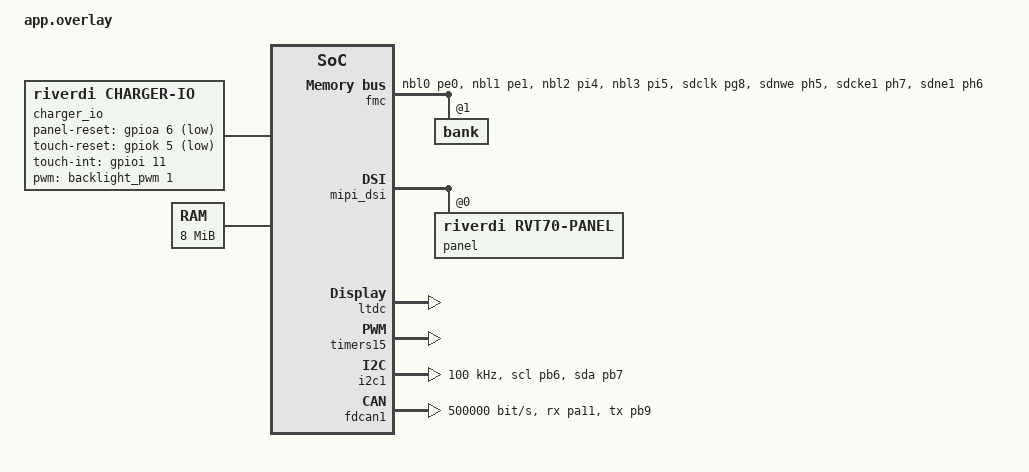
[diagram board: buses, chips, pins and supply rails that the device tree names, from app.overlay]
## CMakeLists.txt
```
# SPDX-License-Identifier: Apache-2.0

cmake_minimum_required(VERSION 3.20.0)

if("${BOARD}" STREQUAL "stm32f769i_disco")
  set(SHIELD st_b_lcd40_dsi1_mb1166)
  set(DTC_OVERLAY_FILE boards/stm32f769i_disco.overlay)
elseif("${BOARD}" STREQUAL "stm32h7b3i_eval")
  set(DTC_OVERLAY_FILE boards/stm32h7b3i_eval.overlay)
elseif("${BOARD}" MATCHES "stm32h7|riverdi")
  set(DTC_OVERLAY_FILE app_h7.overlay)
endif()

find_package(Zephyr REQUIRED HINTS $ENV{ZEPHYR_BASE})
project(riverdi_charger)

target_sources(app PRIVATE src/main.c src/charger_uds.c src/truck_art.c)
add_subdirectory(src/panels)
add_subdirectory(src/pm_control)


generate_inc_file_for_target(app src/jungheinrich.rgb565
  ${ZEPHYR_BINARY_DIR}/include/generated/jungheinrich.rgb565.inc)

foreach(truck ejc216 efg216 etv216i efg425)
  generate_inc_file_for_target(app src/trucks/${truck}.pal565
    ${ZEPHYR_BINARY_DIR}/include/generated/${truck}.pal565.inc)
endforeach()
```

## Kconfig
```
menu "Zephyr"
source "Kconfig.zephyr"
endmenu

module = APP
module-str = APP
source "subsys/logging/Kconfig.template.log_config"

rsource "src/pm_control/Kconfig"
```

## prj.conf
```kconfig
CONFIG_DISPLAY=y
CONFIG_GPIO=y
CONFIG_CAN=y
CONFIG_ISO14229=y
CONFIG_REBOOT=y
CONFIG_STM32H7_BOOT_M4_AT_INIT=n
CONFIG_I2C=y
CONFIG_MEMC=y
CONFIG_MIPI_DSI=y
CONFIG_PWM=y
CONFIG_STM32_LTDC_RGB888=y
CONFIG_LVGL=y
CONFIG_LV_COLOR_DEPTH_24=y
CONFIG_LV_Z_COLOR_24_BGR_TO_RGB=n
CONFIG_LV_Z_MEM_POOL_SIZE=65536
CONFIG_LV_Z_VDB_SIZE=10
CONFIG_LV_FONT_MONTSERRAT_20=y
CONFIG_LV_FONT_MONTSERRAT_28=y
CONFIG_LV_FONT_MONTSERRAT_48=y
CONFIG_MAIN_STACK_SIZE=6144
CONFIG_LOG=y
CONFIG_LOG_DEFAULT_LEVEL=3
```

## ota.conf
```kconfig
CONFIG_FLASH=y
CONFIG_FLASH_MAP=y
CONFIG_FLASH_PAGE_LAYOUT=y
CONFIG_STREAM_FLASH=y
CONFIG_IMG_MANAGER=y
CONFIG_CRC=y
```

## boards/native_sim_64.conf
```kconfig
CONFIG_LV_COLOR_DEPTH_32=y
CONFIG_LV_Z_MEM_POOL_SIZE=150536

CONFIG_INPUT=y
CONFIG_GPIO=y

# Turn off unused drivers enabled by application prj.conf
CONFIG_MEMC=n
CONFIG_PWM=n
```

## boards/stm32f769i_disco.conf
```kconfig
# SPDX-License-Identifier: Apache-2.0

CONFIG_DISPLAY=y
CONFIG_INPUT=y
CONFIG_INPUT_FT5336_INTERRUPT=n
CONFIG_INPUT_FT5336_PERIOD=10
CONFIG_CAN=y
CONFIG_ISO14229=y
CONFIG_REBOOT=y
CONFIG_GPIO=y
CONFIG_I2C=y
CONFIG_MEMC=y
CONFIG_MIPI_DSI=y
CONFIG_PWM=n
CONFIG_STM32_LTDC_RGB888=y
CONFIG_LVGL=y
CONFIG_LV_COLOR_DEPTH_24=y
CONFIG_LV_Z_COLOR_24_BGR_TO_RGB=n
CONFIG_LV_Z_MEM_POOL_SIZE=65536
CONFIG_LV_Z_VDB_SIZE=10
CONFIG_LV_FONT_MONTSERRAT_16=y
CONFIG_LV_FONT_MONTSERRAT_22=y
CONFIG_LV_FONT_MONTSERRAT_38=y
CONFIG_MAIN_STACK_SIZE=6144
```

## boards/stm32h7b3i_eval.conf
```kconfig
# SPDX-License-Identifier: Apache-2.0

CONFIG_INPUT=y
CONFIG_CAN_TRANSCEIVER_INIT_PRIORITY=75
CONFIG_MIPI_DSI=n
CONFIG_PWM=n
CONFIG_STM32_LTDC_RGB565=y
CONFIG_LV_COLOR_DEPTH_16=y
CONFIG_LV_FONT_MONTSERRAT_20=n
CONFIG_LV_FONT_MONTSERRAT_28=n
CONFIG_LV_FONT_MONTSERRAT_48=n
CONFIG_LV_FONT_MONTSERRAT_16=y
CONFIG_LV_FONT_MONTSERRAT_22=y
CONFIG_LV_FONT_MONTSERRAT_38=y
```

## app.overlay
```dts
/* SPDX-License-Identifier: Apache-2.0 */

#include <zephyr/dt-bindings/memory-attr/memory-attr-arm.h>
#include <zephyr/dt-bindings/memory-controller/stm32-fmc-sdram.h>
#include <zephyr/dt-bindings/display/panel.h>
#include <zephyr/dt-bindings/pwm/pwm.h>
#include "flash_layout.dtsi"

/ {
	chosen {
		zephyr,display = &ltdc;
		zephyr,canbus = &fdcan1;
		zephyr,code-partition = &slot0_partition;
	};

	charger_io: charger-io {
		compatible = "riverdi,charger-io";
		panel-reset-gpios = <&gpioa 6 GPIO_ACTIVE_LOW>;
		pwms = <&backlight_pwm 1 20833 PWM_POLARITY_NORMAL>;
		touch-reset-gpios = <&gpiok 5 GPIO_ACTIVE_LOW>;
		touch-int-gpios = <&gpioi 11 GPIO_ACTIVE_HIGH>;
	};

	display_sdram: memory@d0000000 {
		compatible = "zephyr,memory-region", "mmio-sram";
		device_type = "memory";
		reg = <0xd0000000 DT_SIZE_M(8)>;
		zephyr,memory-region = "DISPLAY_SDRAM";
		zephyr,memory-attr = <DT_MEM_ARM(ATTR_MPU_RAM)>;
	};
};

&pll2 {
	clocks = <&clk_hse>;
	div-m = <4>;
	mul-n = <168>;
	div-r = <3>;
	status = "okay";
};

&pll3 {
	clocks = <&clk_hse>;
	/* 16 MHz / 8 * 125 / 6 matches the DSI video timing clock. */
	div-m = <8>;
	mul-n = <125>;
	div-r = <6>;
	status = "okay";
};

&fmc {
	clocks = <&rcc STM32_CLOCK(AHB3, 12)>, <&rcc STM32_SRC_PLL2_R FMC_SEL(2)>;
	pinctrl-0 = <&fmc_nbl0_pe0 &fmc_nbl1_pe1 &fmc_nbl2_pi4 &fmc_nbl3_pi5
		     &fmc_sdclk_pg8 &fmc_sdnwe_ph5 &fmc_sdcke1_ph7 &fmc_sdne1_ph6
		     &fmc_sdnras_pf11 &fmc_sdncas_pg15
		     &fmc_a0_pf0 &fmc_a1_pf1 &fmc_a2_pf2 &fmc_a3_pf3 &fmc_a4_pf4
		     &fmc_a5_pf5 &fmc_a6_pf12 &fmc_a7_pf13 &fmc_a8_pf14
		     &fmc_a9_pf15 &fmc_a10_pg0 &fmc_a11_pg1 &fmc_a12_pg2
		     &fmc_a14_pg4 &fmc_a15_pg5
		     &fmc_d0_pd14 &fmc_d1_pd15 &fmc_d2_pd0 &fmc_d3_pd1
		     &fmc_d4_pe7 &fmc_d5_pe8 &fmc_d6_pe9 &fmc_d7_pe10
		     &fmc_d8_pe11 &fmc_d9_pe12 &fmc_d10_pe13 &fmc_d11_pe14
		     &fmc_d12_pe15 &fmc_d13_pd8 &fmc_d14_pd9 &fmc_d15_pd10
		     &fmc_d16_ph8 &fmc_d17_ph9 &fmc_d18_ph10 &fmc_d19_ph11
		     &fmc_d20_ph12 &fmc_d21_ph13 &fmc_d22_ph14 &fmc_d23_ph15
		     &fmc_d24_pi0 &fmc_d25_pi1 &fmc_d26_pi2 &fmc_d27_pi3
		     &fmc_d28_pi6 &fmc_d29_pi7 &fmc_d30_pi9 &fmc_d31_pi10>;
	pinctrl-names = "default";
	status = "okay";

	sdram {
		power-up-delay = <100>;
		num-auto-refresh = <8>;
		mode-register = <0x230>;
		refresh-rate = <0x603>;
		status = "okay";

		bank@1 {
			reg = <1>;
			st,sdram-control = <STM32_FMC_SDRAM_NC_8 STM32_FMC_SDRAM_NR_11
					    STM32_FMC_SDRAM_MWID_32 STM32_FMC_SDRAM_NB_4
					    STM32_FMC_SDRAM_CAS_3 STM32_FMC_SDRAM_SDCLK_PERIOD_2
					    STM32_FMC_SDRAM_RBURST_ENABLE STM32_FMC_SDRAM_RPIPE_0>;
			st,sdram-timing = <3 7 4 7 4 3 3>;
		};
	};
};

&mipi_dsi {
	pll-ndiv = <62>;
	pll-idf = <1>;
	pll-odf = <1>;
	de-active-high;
	bta-ack-disable;
	largest-packet-size = <23>;
	host-timeouts = <1 0 0 0 0 0 0 0 0>;
	phy-timings = <28 32 15 24 0 0>;
	lp-rx-filter = <10000>;
	status = "okay";

	panel@0 {
		compatible = "riverdi,rvt70-panel";
		reg = <0>;
		data-lanes = <2>;
		pixel-format = <MIPI_DSI_PIXFMT_RGB888>;
	};
};

&ltdc {
	clocks = <&rcc STM32_CLOCK(APB3, 3)>, <&rcc STM32_SRC_PLL3_R NO_SEL>;
	width = <1024>;
	height = <600>;
	pixel-format = <PANEL_PIXEL_FORMAT_RGB_888>;
	ext-sdram = <&display_sdram>;
	def-back-color-red = <0>;
	def-back-color-green = <0>;
	def-back-color-blue = <0>;
	status = "okay";

	display-timings {
		compatible = "zephyr,panel-timing";
		hsync-active = <0>;
		vsync-active = <0>;
		de-active = <0>;
		pixelclk-active = <0>;
		hsync-len = <70>;
		vsync-len = <10>;
		hback-porch = <160>;
		hfront-porch = <160>;
		vback-porch = <23>;
		vfront-porch = <12>;
	};
};

&timers15 {
	st,prescaler = <4>;
	status = "okay";

	backlight_pwm: pwm {
		pinctrl-0 = <&tim15_ch1_pe5>;
		pinctrl-names = "default";
		status = "okay";
	};
};

&i2c1 {
	pinctrl-0 = <&i2c1_scl_pb6 &i2c1_sda_pb7>;
	pinctrl-names = "default";
	clock-frequency = <I2C_BITRATE_STANDARD>;
	status = "okay";
};

&fdcan1 {
	clocks = <&rcc STM32_CLOCK(APB1_2, 8)>, <&rcc STM32_SRC_PLL1_Q FDCAN_SEL(1)>;
	pinctrl-0 = <&fdcan1_rx_pa11 &fdcan1_tx_pb9>;
	pinctrl-names = "default";
	bitrate = <500000>;
	status = "okay";
};
```

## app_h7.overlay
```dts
/* SPDX-License-Identifier: Apache-2.0 */

#include <zephyr/dt-bindings/memory-attr/memory-attr-arm.h>
#include <zephyr/dt-bindings/memory-controller/stm32-fmc-sdram.h>
#include <zephyr/dt-bindings/display/panel.h>
#include <zephyr/dt-bindings/pwm/pwm.h>
#include "flash_layout.dtsi"

/ {
	chosen {
		zephyr,display = &ltdc;
		zephyr,canbus = &fdcan1;
		zephyr,code-partition = &slot0_partition;
	};

	charger_io: charger-io {
		compatible = "riverdi,charger-io";
		panel-reset-gpios = <&gpioa 6 GPIO_ACTIVE_LOW>;
		pwms = <&backlight_pwm 1 20833 PWM_POLARITY_NORMAL>;
		touch-reset-gpios = <&gpiok 5 GPIO_ACTIVE_LOW>;
		touch-int-gpios = <&gpioi 11 GPIO_ACTIVE_HIGH>;
	};

	display_sdram: memory@d0000000 {
		compatible = "zephyr,memory-region", "mmio-sram";
		device_type = "memory";
		reg = <0xd0000000 DT_SIZE_M(8)>;
		zephyr,memory-region = "DISPLAY_SDRAM";
		zephyr,memory-attr = <DT_MEM_ARM(ATTR_MPU_RAM)>;
	};
};

&pll2 {
	clocks = <&clk_hse>;
	div-m = <4>;
	mul-n = <168>;
	div-r = <3>;
	status = "okay";
};

&pll3 {
	clocks = <&clk_hse>;
	/* 16 MHz / 8 * 125 / 6 matches the DSI video timing clock. */
	div-m = <8>;
	mul-n = <125>;
	div-r = <6>;
	status = "okay";
};

&fmc {
	clocks = <&rcc STM32_CLOCK(AHB3, 12)>, <&rcc STM32_SRC_PLL2_R FMC_SEL(2)>;
	pinctrl-0 = <&fmc_nbl0_pe0 &fmc_nbl1_pe1 &fmc_nbl2_pi4 &fmc_nbl3_pi5
		     &fmc_sdclk_pg8 &fmc_sdnwe_ph5 &fmc_sdcke1_ph7 &fmc_sdne1_ph6
		     &fmc_sdnras_pf11 &fmc_sdncas_pg15
		     &fmc_a0_pf0 &fmc_a1_pf1 &fmc_a2_pf2 &fmc_a3_pf3 &fmc_a4_pf4
		     &fmc_a5_pf5 &fmc_a6_pf12 &fmc_a7_pf13 &fmc_a8_pf14
		     &fmc_a9_pf15 &fmc_a10_pg0 &fmc_a11_pg1 &fmc_a12_pg2
		     &fmc_a14_pg4 &fmc_a15_pg5
		     &fmc_d0_pd14 &fmc_d1_pd15 &fmc_d2_pd0 &fmc_d3_pd1
		     &fmc_d4_pe7 &fmc_d5_pe8 &fmc_d6_pe9 &fmc_d7_pe10
		     &fmc_d8_pe11 &fmc_d9_pe12 &fmc_d10_pe13 &fmc_d11_pe14
		     &fmc_d12_pe15 &fmc_d13_pd8 &fmc_d14_pd9 &fmc_d15_pd10
		     &fmc_d16_ph8 &fmc_d17_ph9 &fmc_d18_ph10 &fmc_d19_ph11
		     &fmc_d20_ph12 &fmc_d21_ph13 &fmc_d22_ph14 &fmc_d23_ph15
		     &fmc_d24_pi0 &fmc_d25_pi1 &fmc_d26_pi2 &fmc_d27_pi3
		     &fmc_d28_pi6 &fmc_d29_pi7 &fmc_d30_pi9 &fmc_d31_pi10>;
	pinctrl-names = "default";
	status = "okay";

	sdram {
		power-up-delay = <100>;
		num-auto-refresh = <8>;
		mode-register = <0x230>;
		refresh-rate = <0x603>;
		status = "okay";

		bank@1 {
			reg = <1>;
			st,sdram-control = <STM32_FMC_SDRAM_NC_8 STM32_FMC_SDRAM_NR_11
					    STM32_FMC_SDRAM_MWID_32 STM32_FMC_SDRAM_NB_4
					    STM32_FMC_SDRAM_CAS_3 STM32_FMC_SDRAM_SDCLK_PERIOD_2
					    STM32_FMC_SDRAM_RBURST_ENABLE STM32_FMC_SDRAM_RPIPE_0>;
			st,sdram-timing = <3 7 4 7 4 3 3>;
		};
	};
};

&mipi_dsi {
	pll-ndiv = <62>;
	pll-idf = <1>;
	pll-odf = <1>;
	de-active-high;
	bta-ack-disable;
	largest-packet-size = <23>;
	host-timeouts = <1 0 0 0 0 0 0 0 0>;
	phy-timings = <28 32 15 24 0 0>;
	lp-rx-filter = <10000>;
	status = "okay";

	panel@0 {
		compatible = "riverdi,rvt70-panel";
		reg = <0>;
		data-lanes = <2>;
		pixel-format = <MIPI_DSI_PIXFMT_RGB888>;
	};
};

&ltdc {
	clocks = <&rcc STM32_CLOCK(APB3, 3)>, <&rcc STM32_SRC_PLL3_R NO_SEL>;
	width = <1024>;
	height = <600>;
	pixel-format = <PANEL_PIXEL_FORMAT_RGB_888>;
	ext-sdram = <&display_sdram>;
	def-back-color-red = <0>;
	def-back-color-green = <0>;
	def-back-color-blue = <0>;
	status = "okay";

	display-timings {
		compatible = "zephyr,panel-timing";
		hsync-active = <0>;
		vsync-active = <0>;
		de-active = <0>;
		pixelclk-active = <0>;
		hsync-len = <70>;
		vsync-len = <10>;
		hback-porch = <160>;
		hfront-porch = <160>;
		vback-porch = <23>;
		vfront-porch = <12>;
	};
};

&timers15 {
	st,prescaler = <4>;
	status = "okay";

	backlight_pwm: pwm {
		pinctrl-0 = <&tim15_ch1_pe5>;
		pinctrl-names = "default";
		status = "okay";
	};
};

&i2c1 {
	pinctrl-0 = <&i2c1_scl_pb6 &i2c1_sda_pb7>;
	pinctrl-names = "default";
	clock-frequency = <I2C_BITRATE_STANDARD>;
	status = "okay";
};

&fdcan1 {
	clocks = <&rcc STM32_CLOCK(APB1_2, 8)>, <&rcc STM32_SRC_PLL1_Q FDCAN_SEL(1)>;
	pinctrl-0 = <&fdcan1_rx_pa11 &fdcan1_tx_pb9>;
	pinctrl-names = "default";
	bitrate = <800000>;
	status = "okay";
};
```

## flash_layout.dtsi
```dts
/* SPDX-License-Identifier: Apache-2.0 */

&flash0 {
	reg = <0x08000000 DT_SIZE_M(2)>;
	/delete-property/ bank2-flash-size;

	partitions {
		compatible = "fixed-partitions";
		#address-cells = <1>;
		#size-cells = <1>;

		boot_partition: partition@0 {
			label = "mcuboot";
			reg = <0x000000 0x020000>;
		};

		slot0_partition: partition@20000 {
			label = "image-0";
			reg = <0x020000 0x0a0000>;
		};

		scratch_partition: partition@c0000 {
			label = "image-scratch";
			reg = <0x0c0000 0x020000>;
		};

		slot1_partition: partition@100000 {
			label = "image-1";
			reg = <0x100000 0x0a0000>;
		};
	};
};
```

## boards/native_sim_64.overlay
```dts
/ {
	chosen {
		zephyr,canbus = &can0;
		zephyr,display = &sdl_dc;
		zephyr,touch = &input_sdl_touch;
	};

	lvgl_pointer {
		compatible = "zephyr,lvgl-pointer-input";
		status = "okay";
		input = <&input_sdl_touch>;
		display = <&sdl_dc>;
	};

	leds {
		/* Not actually an LED, but used as a node from which to fetch gpio_dt_spec in application */
		lm_enable: led_1 {
			gpios = <&gpio0 1 GPIO_ACTIVE_HIGH>;
			label = "LM_ENABLE";
		};
	};
};

&sdl_dc {
	status = "okay";
	width = <1024>;
	height = <600>;
};

&can0 {
	status = "okay";
	/* Virtual CAN interface */
	host-interface = "vcan0";
	/* For real CAN interface (e.g. PCAN_USB), comment out the above line and uncomment the following */
	/* host-interface = "can0"; */
	sample-point = <875>;
	bitrate = <800000>;
};
```

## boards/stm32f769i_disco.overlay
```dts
/* SPDX-License-Identifier: Apache-2.0 */

#include "stm32f769i_disco_flash_layout.dtsi"

/delete-node/ &{/soc/spi@a0001000/qspi-nor-flash@0/partitions/partition@0};

/ {
	chosen {
		zephyr,canbus = &can1;
		zephyr,code-partition = &slot0_partition;
		zephyr,touch = &ft6202;
	};

	leds {
		/* Not actually an LED, but used as a node from which to fetch gpio_dt_spec in application */
		lm_enable: led_4 {
			gpios = <&gpioj 1 (GPIO_OPEN_DRAIN | GPIO_PULL_UP)>;
			label = "LM_ENABLE";
		};
	};
};

&can1 {
	pinctrl-0 = <&can1_rx_pb8 &can1_tx_pb9>;
	pinctrl-names = "default";
	bitrate = <800000>;
	status = "okay";
};

&i2c1 {
	status = "disabled";
};

&ft6202 {
	inverted-y;
	screen-height = <480>;
};

&ft5336 {
	status = "disabled";
};
```

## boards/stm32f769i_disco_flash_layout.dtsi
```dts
/* SPDX-License-Identifier: Apache-2.0 */

&flash0 {
	reg = <0x08000000 DT_SIZE_M(2)>;
	/delete-property/ bank2-flash-size;

	partitions {
		compatible = "fixed-partitions";
		#address-cells = <1>;
		#size-cells = <1>;

		boot_partition: partition@0 {
			label = "mcuboot";
			reg = <0x000000 0x040000>;
		};

		slot0_partition: partition@40000 {
			label = "image-0";
			reg = <0x040000 0x0c0000>;
		};

		slot1_partition: partition@100000 {
			label = "image-1";
			reg = <0x100000 0x0c0000>;
		};

		scratch_partition: partition@1c0000 {
			label = "image-scratch";
			reg = <0x1c0000 0x040000>;
		};
	};
};
```

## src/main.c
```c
/* SPDX-License-Identifier: Apache-2.0 */

#include <errno.h>
#include <zephyr/drivers/display.h>
#include <zephyr/kernel.h>
#include <zephyr/sys/printk.h>
#include "panel.h"
#include "gui.h"
#include "charger_uds.h"
#ifdef CONFIG_BOOTLOADER_MCUBOOT
#include <zephyr/dfu/mcuboot.h>
#endif

int main(void)
{
	const struct device *display = DEVICE_DT_GET(DT_CHOSEN(zephyr_display));
	int ret;

	if (!device_is_ready(display)) {
		printk("LTDC is not ready\n");
		return -ENODEV;
	}
	ret = charger_panel_init();
	if (ret < 0) {
		printk("Panel initialization failed (%d)\n", ret);
		return ret;
	}
	ret = charger_touch_init();
	if (ret < 0) {
		printk("Touch initialization failed (%d)\n", ret);
	}
	gui_init();
	gui_process();
	display_blanking_off(display);
	ret = charger_uds_init();
	if (ret) {
		printk("CAN/UDS initialization failed (%d)\n", ret);
	}
#ifdef CONFIG_BOOTLOADER_MCUBOOT
	if (ret == 0 && !boot_is_img_confirmed()) {
		ret = boot_write_img_confirmed();
		if (ret) {
			printk("MCUboot confirmation failed (%d)\n", ret);
		}
	}
#endif

	while (true) {
		uint32_t delay = gui_process();

		k_msleep(CLAMP(delay, 1, 20));
	}
}
```

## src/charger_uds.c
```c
/* SPDX-License-Identifier: Apache-2.0 */

#include <errno.h>
#include <ardep/iso14229.h>
#include <zephyr/sys/atomic.h>
#include <zephyr/sys/byteorder.h>
#include <zephyr/sys/reboot.h>
#include <zephyr/sys/util.h>
#include <zephyr/app_version.h>
#include "charger_uds.h"

#ifdef CONFIG_BOOTLOADER_MCUBOOT
#include <zephyr/dfu/flash_img.h>
#include <zephyr/dfu/mcuboot.h>
#include <zephyr/storage/flash_map.h>
#include <zephyr/sys/crc.h>
#endif

#define DID_BATTERY 0xf200
#define DID_PROFILE 0xf201
#define DID_TRUCK 0xf202
#define DID_INDICATORS 0xf203
#define DID_CHARGE 0xf204
#define DID_LAYOUT 0xf205
#define DID_VERSION 0xf189
#define BATTERY_WIRE_SIZE 12
#define BENCH_P2_MS 5

static const struct device *const can = DEVICE_DT_GET(DT_CHOSEN(zephyr_canbus));
static struct iso14229_zephyr_instance uds;
static struct battery_sample battery = {640, 520, 0, 250, 0, 0};
static int64_t last_update = -1;
static atomic_t selected_truck;
static atomic_t indicators;
static atomic_t charge_state;
K_MUTEX_DEFINE(battery_lock);

bool charger_uds_sample(struct battery_sample *sample)
{
	k_mutex_lock(&battery_lock, K_FOREVER);
	*sample = battery;
	bool fresh = last_update >= 0 && k_uptime_get() - last_update < 5000;
	k_mutex_unlock(&battery_lock);
	return fresh;
}

enum charger_truck charger_uds_truck(void)
{
	return atomic_get(&selected_truck);
}

uint8_t charger_uds_indicators(void)
{
	return atomic_get(&indicators);
}

enum charger_charge_state charger_charge_state(void)
{
	return atomic_get(&charge_state);
}

int charger_set_charging(bool enable)
{
	int ret = 0;

	k_mutex_lock(&battery_lock, K_FOREVER);
	if (enable) {
		if (!charger_uds_truck() || charger_charge_state() == COMPLETE) {
			ret = -EPERM;
		} else {
			atomic_set(&charge_state, CHARGING);
		}
	} else {
		atomic_cas(&charge_state, CHARGING, PAUSED);
	}
	k_mutex_unlock(&battery_lock);
	return ret;
}

void charger_reset_charge(void)
{
	k_mutex_lock(&battery_lock, K_FOREVER);
	atomic_set(&charge_state, READY);
	k_mutex_unlock(&battery_lock);
}

static UDSErr_t read_did(UDSServer_t *srv, UDSRDBIArgs_t *args)
{
	static const uint8_t profile[] = {
		'R', 'V', 'C', '1',
#ifdef CONFIG_BOOTLOADER_MCUBOOT
		1,
#else
		0,
#endif
	};
	static const char version[] = APP_VERSION_STRING;
	struct battery_sample sample;
	uint8_t wire[BATTERY_WIRE_SIZE];

	switch (args->dataId) {
	case DID_PROFILE:
		return args->copy(srv, profile, sizeof(profile));
	case DID_VERSION:
		return args->copy(srv, version, sizeof(version) - 1);
	case DID_TRUCK:
		wire[0] = charger_uds_truck();
		return args->copy(srv, wire, 1);
	case DID_INDICATORS:
		wire[0] = charger_uds_indicators();
		return args->copy(srv, wire, 1);
	case DID_CHARGE:
		wire[0] = charger_charge_state();
		return args->copy(srv, wire, 1);
	case DID_LAYOUT:
#ifdef CONFIG_BOARD_STM32F769I_DISCO
		wire[0] = 1;
#else
		wire[0] = 0;
#endif
		return args->copy(srv, wire, 1);
	case DID_BATTERY:
		charger_uds_sample(&sample);
		sys_put_be16(sample.soc_permille, wire);
		sys_put_be16(sample.voltage_decivolts, wire + 2);
		sys_put_be16(sample.current_deciamps, wire + 4);
		sys_put_be16(sample.temperature_decicelsius, wire + 6);
		sys_put_be16(sample.warnings, wire + 8);
		sys_put_be16(sample.faults, wire + 10);
		return args->copy(srv, wire, sizeof(wire));
	default:
		return UDS_NRC_RequestOutOfRange;
	}
}

static UDSErr_t write_did(const UDSWDBIArgs_t *args)
{
	if (args->dataId == DID_CHARGE) {
		if (args->len != 1) {
			return UDS_NRC_IncorrectMessageLengthOrInvalidFormat;
		}
		if (args->data[0] > 1) {
			return UDS_NRC_RequestOutOfRange;
		}
		return charger_set_charging(args->data[0]) ? UDS_NRC_ConditionsNotCorrect :
			UDS_PositiveResponse;
	}
	if (args->dataId == DID_INDICATORS) {
		if (args->len != 2) {
			return UDS_NRC_IncorrectMessageLengthOrInvalidFormat;
		}
		const uint8_t mask = args->data[0];
		const uint8_t value = args->data[1];
		atomic_val_t previous;

		if (!mask || (mask & ~(CHARGER_POWER_STAGE | CHARGER_PM_ENABLE)) || (value & ~mask)) {
			return UDS_NRC_RequestOutOfRange;
		}
		do {
			previous = atomic_get(&indicators);
		} while (!atomic_cas(&indicators, previous, (previous & ~mask) | value));
		return UDS_PositiveResponse;
	}
	if (args->dataId == DID_TRUCK) {
		if (args->len != 1) {
			return UDS_NRC_IncorrectMessageLengthOrInvalidFormat;
		}
		if (args->data[0] >= CHARGER_TRUCK_COUNT) {
			return UDS_NRC_RequestOutOfRange;
		}
		k_mutex_lock(&battery_lock, K_FOREVER);
		if (atomic_set(&selected_truck, args->data[0]) != args->data[0]) {
			atomic_set(&charge_state, READY);
			last_update = -1;
		}
		k_mutex_unlock(&battery_lock);
		return UDS_PositiveResponse;
	}
	if (args->dataId != DID_BATTERY) {
		return UDS_NRC_RequestOutOfRange;
	}
	if (args->len != BATTERY_WIRE_SIZE) {
		return UDS_NRC_IncorrectMessageLengthOrInvalidFormat;
	}

	struct battery_sample sample = {
		.soc_permille = sys_get_be16(args->data),
		.voltage_decivolts = sys_get_be16(args->data + 2),
		.current_deciamps = (int16_t)sys_get_be16(args->data + 4),
		.temperature_decicelsius = (int16_t)sys_get_be16(args->data + 6),
		.warnings = sys_get_be16(args->data + 8),
		.faults = sys_get_be16(args->data + 10),
	};

	if (sample.soc_permille > 1000 || sample.voltage_decivolts > 1200 ||
	    sample.current_deciamps < -3000 || sample.current_deciamps > 3000 ||
	    sample.temperature_decicelsius < -400 || sample.temperature_decicelsius > 1500) {
		return UDS_NRC_RequestOutOfRange;
	}
	k_mutex_lock(&battery_lock, K_FOREVER);
	battery = sample;
	last_update = k_uptime_get();
	if (sample.soc_permille == 1000) {
		atomic_cas(&charge_state, CHARGING, COMPLETE);
	} else {
		atomic_cas(&charge_state, COMPLETE, READY);
	}
	k_mutex_unlock(&battery_lock);
	return UDS_PositiveResponse;
}

#ifdef CONFIG_BOOTLOADER_MCUBOOT
#define ERASE_SECONDARY 0xff00
#define VERIFY_AND_STAGE 0xff01
#define SECONDARY_ID PARTITION_ID(slot1_partition)
/* The linker keeps CONFIG_ROM_END_OFFSET free at the end of the slot for
 * the MCUboot trailer. That is smaller than one 128 KiB flash sector.
 */
BUILD_ASSERT(CONFIG_ROM_END_OFFSET > 0);
#define MAX_IMAGE_SIZE (PARTITION_SIZE(slot1_partition) - CONFIG_ROM_END_OFFSET)
#define TRANSFER_PAYLOAD 512

BUILD_ASSERT(IS_ENABLED(CONFIG_MCUBOOT_BOOTLOADER_MODE_SWAP_SCRATCH),
	     "Riverdi UDS requires MCUboot swap using scratch");

static struct flash_img_context image;
static enum { UPDATE_EMPTY, UPDATE_ERASED, UPDATE_DOWNLOADING, UPDATE_DOWNLOADED, UPDATE_STAGED } phase;
static size_t image_size;
static size_t received;

static void abandon_download(void)
{
	if (phase == UPDATE_DOWNLOADING && image.flash_area != NULL) {
		flash_area_close(image.flash_area);
		image.flash_area = NULL;
	}
	phase = UPDATE_EMPTY;
}

static UDSErr_t programming_routine(const UDSRoutineCtrlArgs_t *args)
{
	const struct flash_area *slot;
	uint8_t buffer[256];
	int rc;

	if (args->ctrlType != 1) {
		return UDS_NRC_SubFunctionNotSupported;
	}
	if (args->id == ERASE_SECONDARY && args->len == 0 && phase != UPDATE_STAGED) {
		abandon_download();
		if (flash_area_open(SECONDARY_ID, &slot)) {
			return UDS_NRC_GeneralProgrammingFailure;
		}
		rc = flash_area_erase(slot, 0, slot->fa_size);
		flash_area_close(slot);
		if (rc) {
			return UDS_NRC_GeneralProgrammingFailure;
		}
		phase = UPDATE_ERASED;
		return UDS_PositiveResponse;
	}
	if (args->id != VERIFY_AND_STAGE || args->len != 4 || phase != UPDATE_DOWNLOADED) {
		return UDS_NRC_RequestSequenceError;
	}
	if (flash_area_open(SECONDARY_ID, &slot)) {
		return UDS_NRC_GeneralProgrammingFailure;
	}
	uint32_t crc = 0;
	for (size_t offset = 0; offset < image_size; offset += sizeof(buffer)) {
		size_t length = MIN(sizeof(buffer), image_size - offset);
		rc = flash_area_read(slot, offset, buffer, length);
		if (rc) {
			flash_area_close(slot);
			return UDS_NRC_GeneralProgrammingFailure;
		}
		crc = crc32_ieee_update(crc, buffer, length);
	}
	flash_area_close(slot);
	if (crc != sys_get_be32(args->optionRecord) || boot_request_upgrade(BOOT_UPGRADE_TEST)) {
		return UDS_NRC_GeneralProgrammingFailure;
	}
	phase = UPDATE_STAGED;
	return UDS_PositiveResponse;
}

static UDSErr_t programming_event(UDSEvent_t event, void *arg)
{
	switch (event) {
	case UDS_EVT_RoutineCtrl:
		return programming_routine(arg);
	case UDS_EVT_RequestDownload: {
		UDSRequestDownloadArgs_t *args = arg;
		if (phase != UPDATE_ERASED || args->addr != NULL || args->dataFormatIdentifier != 0 ||
		    args->size == 0 || args->size > MAX_IMAGE_SIZE) {
			return UDS_NRC_RequestOutOfRange;
		}
		if (flash_img_init_id(&image, SECONDARY_ID)) {
			return UDS_NRC_GeneralProgrammingFailure;
		}
		phase = UPDATE_DOWNLOADING;
		image_size = args->size;
		received = 0;
		args->maxNumberOfBlockLength = TRANSFER_PAYLOAD + 2;
		return UDS_PositiveResponse;
	}
	case UDS_EVT_TransferData: {
		const UDSTransferDataArgs_t *args = arg;
		if (phase != UPDATE_DOWNLOADING || args->len == 0 || args->len > TRANSFER_PAYLOAD ||
		    args->len > image_size - received) {
			return UDS_NRC_RequestSequenceError;
		}
		if (flash_img_buffered_write(&image, args->data, args->len, false)) {
			abandon_download();
			return UDS_NRC_GeneralProgrammingFailure;
		}
		received += args->len;
		return UDS_PositiveResponse;
	}
	case UDS_EVT_RequestTransferExit:
		if (phase != UPDATE_DOWNLOADING || received != image_size ||
		    ((UDSRequestTransferExitArgs_t *)arg)->len != 0) {
			return UDS_NRC_RequestSequenceError;
		}
		if (flash_img_buffered_write(&image, NULL, 0, true)) {
			abandon_download();
			return UDS_NRC_GeneralProgrammingFailure;
		}
		phase = UPDATE_DOWNLOADED;
		return UDS_PositiveResponse;
	case UDS_EVT_EcuReset:
		return phase == UPDATE_STAGED && ((UDSECUResetArgs_t *)arg)->type == 1 ?
			UDS_PositiveResponse : UDS_NRC_ConditionsNotCorrect;
	default:
		return UDS_NRC_ServiceNotSupported;
	}
}
#endif

static UDSErr_t uds_event(struct iso14229_zephyr_instance *inst, UDSEvent_t event,
			  void *arg, void *context)
{
	switch (event) {
	case UDS_EVT_ReadDataByIdent:
		return read_did(&inst->server, arg);
	case UDS_EVT_WriteDataByIdent:
		return inst->server.sessionType == 1 ? write_did(arg) : UDS_NRC_ConditionsNotCorrect;
	case UDS_EVT_DiagSessCtrl: {
		UDSDiagSessCtrlArgs_t *args = arg;
		if (args->type == 1) {
			inst->server.p2_ms = BENCH_P2_MS;
#ifdef CONFIG_BOOTLOADER_MCUBOOT
			if (phase != UPDATE_STAGED) {
				abandon_download();
				inst->server.xferIsActive = false;
			}
#endif
			return UDS_PositiveResponse;
		}
#ifdef CONFIG_BOOTLOADER_MCUBOOT
		if (args->type == 2 && boot_is_img_confirmed()) {
			inst->server.p2_ms = UDS_SERVER_DEFAULT_P2_MS;
			inst->server.s3_ms = 30000;
			args->p2_ms = 25000;
			args->p2_star_ms = 30000;
			return UDS_PositiveResponse;
		}
#endif
		return UDS_NRC_SubFunctionNotSupported;
	}
	case UDS_EVT_SessionTimeout:
		inst->server.p2_ms = BENCH_P2_MS;
#ifdef CONFIG_BOOTLOADER_MCUBOOT
		if (phase != UPDATE_STAGED) {
			abandon_download();
			inst->server.xferIsActive = false;
		}
#endif
		return UDS_PositiveResponse;
#ifdef CONFIG_BOOTLOADER_MCUBOOT
	case UDS_EVT_DoScheduledReset:
		sys_reboot(SYS_REBOOT_COLD);
		return UDS_PositiveResponse;
#endif
	default:
#ifdef CONFIG_BOOTLOADER_MCUBOOT
		if (inst->server.sessionType == 2) {
			return programming_event(event, arg);
		}
#endif
		return UDS_NRC_ServiceNotSupported;
	}
}

int charger_uds_init(void)
{
	const UDSISOTpCConfig_t address = {
		/* ARDEP filters on source_addr and transmits on target_addr. */
		.source_addr = 0x7e0, .target_addr = 0x7e8,
		.source_addr_func = UDS_TP_NOOP_ADDR, .target_addr_func = UDS_TP_NOOP_ADDR,
	};
	int rc;

	if (!device_is_ready(can)) {
		return -ENODEV;
	}
	rc = iso14229_zephyr_init(&uds, &address, can, NULL);
	if (rc == 0) {
		uds.server.p2_ms = BENCH_P2_MS;
		rc = uds.set_callback(&uds, uds_event);
	}
	if (rc == 0) {
		rc = can_start(can);
	}
	if (rc == 0) {
		rc = uds.thread_start(&uds);
	}
	return rc;
}
```

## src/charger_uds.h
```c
/* SPDX-License-Identifier: Apache-2.0 */

#ifndef RIVERDI_CHARGER_UDS_H
#define RIVERDI_CHARGER_UDS_H

#include <stdbool.h>
#include <stdint.h>

struct battery_sample {
	uint16_t soc_permille;
	uint16_t voltage_decivolts;
	int16_t current_deciamps;
	int16_t temperature_decicelsius;
	uint16_t warnings;
	uint16_t faults;
};

enum charger_truck {
	CHARGER_TRUCK_NONE,
	CHARGER_TRUCK_EJC216,
	CHARGER_TRUCK_EFG216,
	CHARGER_TRUCK_ETV216I,
	CHARGER_TRUCK_EFG425,
	CHARGER_TRUCK_CUSTOM,
	CHARGER_TRUCK_COUNT,
};

enum charger_indicator {
	CHARGER_POWER_STAGE = 0x01,
	CHARGER_PM_ENABLE = 0x02,
};

enum charger_charge_state {
	READY,
	CHARGING,
	PAUSED,
	COMPLETE,
};

int charger_uds_init(void);
bool charger_uds_sample(struct battery_sample *sample);
enum charger_truck charger_uds_truck(void);
uint8_t charger_uds_indicators(void);
enum charger_charge_state charger_charge_state(void);
int charger_set_charging(bool enable);
void charger_reset_charge(void);

#endif
```

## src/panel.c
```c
/* SPDX-License-Identifier: Apache-2.0 */

#include <errno.h>
#include <lvgl.h>
#include <soc.h>
#include <stm32h7xx_hal_dsi.h>
#include <zephyr/drivers/gpio.h>
#include <zephyr/drivers/i2c.h>
#include <zephyr/drivers/mipi_dsi.h>
#include <zephyr/drivers/pwm.h>
#include <zephyr/kernel.h>
#include <zephyr/sys/byteorder.h>
#include "panel.h"

#define CHARGER_IO DT_NODELABEL(charger_io)
#define PANEL_WIDTH 1024
#define PANEL_HEIGHT 600
#define TOUCH_ADDRESS 0x41
#define TOUCH_REPORT 0x48
#define TOUCH_ACTIVE BIT(6)
#define TOUCH_CONTACT_SIZE 5
#define TOUCH_COUNT_OFFSET 61
#define TOUCH_POLL_MS 10
#define TOUCH_RELEASE_TIMEOUT_MS 80
#define RIVERDI_DSI_PHY_THS_ZERO 213U

static const struct gpio_dt_spec panel_reset = GPIO_DT_SPEC_GET(CHARGER_IO, panel_reset_gpios);
static const struct pwm_dt_spec backlight = PWM_DT_SPEC_GET(CHARGER_IO);
static const struct gpio_dt_spec touch_reset = GPIO_DT_SPEC_GET(CHARGER_IO, touch_reset_gpios);
static const struct gpio_dt_spec touch_irq = GPIO_DT_SPEC_GET(CHARGER_IO, touch_int_gpios);
static const struct device *const dsi = DEVICE_DT_GET(DT_NODELABEL(mipi_dsi));
static const struct device *const touch_bus = DEVICE_DT_GET(DT_NODELABEL(i2c1));
static struct gpio_callback touch_callback;
static lv_indev_data_t last_touch;
K_SEM_DEFINE(touch_pending, 0, 1);

static int reset_device(const struct gpio_dt_spec *reset, int hold_ms, int settle_ms)
{
	int ret = gpio_pin_configure_dt(reset, GPIO_OUTPUT_ACTIVE);

	if (ret < 0) {
		return ret;
	}
	k_msleep(hold_ms);
	ret = gpio_pin_set_dt(reset, 0);
	if (ret < 0) {
		return ret;
	}
	k_msleep(settle_ms);
	return 0;
}

static int apply_riverdi_dsi_phy(void)
{
	DSI_HandleTypeDef host = { .Instance = DSI };

	if (HAL_DSI_Stop(&host) != HAL_OK) {
		return -EIO;
	}
	CLEAR_BIT(DSI->VNPCR, DSI_VNPCR_NPSIZE);
	CLEAR_BIT(DSI->LPMCR, DSI_LPMCR_VLPSIZE);
	if (HAL_DSI_SetPHYTimings(&host, DSI_THS_ZERO, ENABLE,
				  RIVERDI_DSI_PHY_THS_ZERO) != HAL_OK ||
	    HAL_DSI_Start(&host) != HAL_OK) {
		return -EIO;
	}
	return 0;
}

int charger_panel_init(void)
{
	/* The STM32 host fetches a 16-bit value at offset one for this packet. */
	static const uint8_t panel_setup[][3] __aligned(2) = {
		{0x87, 0x5a}, {0xb0, 0x80}, {0xb2, 0x50}, {0x80, 0x4b},
		{0x81, 0xff}, {0x82, 0x1a}, {0x83, 0x88}, {0x84, 0x8f},
		{0x85, 0x35}, {0x86, 0xb0},
	};
	const struct mipi_dsi_device panel = {
		.data_lanes = 2,
		.pixfmt = MIPI_DSI_PIXFMT_RGB888,
		.mode_flags = MIPI_DSI_MODE_VIDEO | MIPI_DSI_MODE_VIDEO_BURST | MIPI_DSI_MODE_LPM,
		.timings = {
			.hactive = PANEL_WIDTH, .hsync = 70, .hbp = 160, .hfp = 160,
			.vactive = PANEL_HEIGHT, .vsync = 10, .vbp = 23, .vfp = 12,
		},
	};
	int ret;

	if (!device_is_ready(dsi) || !gpio_is_ready_dt(&panel_reset) ||
	    !pwm_is_ready_dt(&backlight)) {
		return -ENODEV;
	}
	ret = pwm_set_pulse_dt(&backlight, 0);
	if (ret < 0) {
		return ret;
	}
	ret = reset_device(&panel_reset, 20, 120);
	if (ret < 0) {
		return ret;
	}
	ret = mipi_dsi_attach(dsi, 0, &panel);
	if (ret < 0) {
		return ret;
	}
	ret = apply_riverdi_dsi_phy();
	if (ret < 0) {
		return ret;
	}
	ret = mipi_dsi_dcs_write(dsi, 0, MIPI_DCS_SOFT_RESET, NULL, 0);
	if (ret < 0) {
		return ret;
	}
	k_msleep(120);

	for (size_t i = 0; i < ARRAY_SIZE(panel_setup); i++) {
		ret = mipi_dsi_generic_write(dsi, 0, panel_setup[i], 2);
		if (ret < 0) {
			return ret;
		}
	}
	k_msleep(50);
	ret = mipi_dsi_dcs_write(dsi, 0, MIPI_DCS_EXIT_SLEEP_MODE, NULL, 0);
	if (ret < 0) {
		return ret;
	}
	k_msleep(120);
	ret = mipi_dsi_dcs_write(dsi, 0, MIPI_DCS_SET_DISPLAY_ON, NULL, 0);
	if (ret < 0) {
		return ret;
	}
	k_msleep(120);
	return pwm_set_cycles(backlight.dev, backlight.channel, 1000, 998, backlight.flags);
}

static void touch_interrupt(const struct device *dev, struct gpio_callback *cb, uint32_t pins)
{
	k_sem_give(&touch_pending);
}

static void read_touch(lv_indev_t *indev, lv_indev_data_t *data)
{
	static int64_t last_contact_at;
	uint8_t report[64];
	const bool pending = k_sem_take(&touch_pending, K_NO_WAIT) == 0;
	const int64_t now = k_uptime_get();

	/* Keep checking for lift-off if the interrupt edge was missed. */
	if (pending || last_touch.state == LV_INDEV_STATE_PRESSED) {
		int ret = i2c_read(touch_bus, report, sizeof(report), TOUCH_ADDRESS);

		if (ret == 0 && report[0] == TOUCH_REPORT) {
			last_touch.state = LV_INDEV_STATE_RELEASED;
			for (size_t i = 0; i < MIN(report[TOUCH_COUNT_OFFSET], 10); i++) {
				const uint8_t *contact = &report[1 + i * TOUCH_CONTACT_SIZE];
				uint16_t x = sys_get_le16(contact + 1);
				uint16_t y = sys_get_le16(contact + 3);

				if ((contact[0] & TOUCH_ACTIVE) && x < PANEL_WIDTH &&
				    y < PANEL_HEIGHT) {
					last_touch.point.x = x;
					last_touch.point.y = y;
					last_touch.state = LV_INDEV_STATE_PRESSED;
					last_contact_at = now;
					break;
				}
			}
		} else if (now - last_contact_at >= TOUCH_RELEASE_TIMEOUT_MS) {
			last_touch.state = LV_INDEV_STATE_RELEASED;
		}
	}
	data->point = last_touch.point;
	data->state = last_touch.state;
}

int charger_touch_init(void)
{
	lv_indev_t *pointer;
	int ret;

	if (!device_is_ready(touch_bus) || !gpio_is_ready_dt(&touch_reset) ||
	    !gpio_is_ready_dt(&touch_irq)) {
		return -ENODEV;
	}
	ret = reset_device(&touch_reset, 100, 1000);
	if (ret < 0) {
		return ret;
	}
	ret = gpio_pin_configure_dt(&touch_irq, GPIO_INPUT);
	if (ret < 0) {
		return ret;
	}
	gpio_init_callback(&touch_callback, touch_interrupt, BIT(touch_irq.pin));
	ret = gpio_add_callback(touch_irq.port, &touch_callback);
	if (ret < 0) {
		return ret;
	}
	ret = gpio_pin_interrupt_configure_dt(&touch_irq, GPIO_INT_EDGE_TO_ACTIVE);
	if (ret < 0) {
		return ret;
	}
	pointer = lv_indev_create();
	if (pointer == NULL) {
		return -ENOMEM;
	}
	lv_indev_set_type(pointer, LV_INDEV_TYPE_POINTER);
	lv_indev_set_read_cb(pointer, read_touch);
	lv_timer_set_period(lv_indev_get_read_timer(pointer), TOUCH_POLL_MS);
	return 0;
}
```

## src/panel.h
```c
/* SPDX-License-Identifier: Apache-2.0 */

#ifndef RIVERDI_CHARGER_PANEL_H
#define RIVERDI_CHARGER_PANEL_H

#if defined(CONFIG_BOARD_STM32H7B3I_EVAL) || defined(CONFIG_BOARD_STM32F769I_DISCO)
#include <errno.h>
#include <zephyr/device.h>
#endif

#ifdef CONFIG_BOARD_STM32H7B3I_EVAL
#include <zephyr/drivers/gpio.h>
#include <zephyr/kernel.h>

static inline int charger_panel_init(void)
{
	const struct gpio_dt_spec reset =
		GPIO_DT_SPEC_GET(DT_PATH(zephyr_user), panel_reset_gpios);
	int ret;

	if (!gpio_is_ready_dt(&reset)) {
		return -ENODEV;
	}
	ret = gpio_pin_configure_dt(&reset, GPIO_OUTPUT_ACTIVE);
	if (ret < 0) {
		return ret;
	}
	k_msleep(20);
	ret = gpio_pin_set_dt(&reset, 0);
	if (ret < 0) {
		return ret;
	}
	k_msleep(10);
	return 0;
}

static inline int charger_touch_init(void)
{
	return device_is_ready(DEVICE_DT_GET(DT_CHOSEN(zephyr_touch))) ? 0 : -ENODEV;
}
#elif defined(CONFIG_BOARD_STM32F769I_DISCO)
static inline int charger_panel_init(void)
{
	/* The OTM8009A display driver resets and initializes this panel at boot. */
	return 0;
}

static inline int charger_touch_init(void)
{
	return device_is_ready(DEVICE_DT_GET(DT_CHOSEN(zephyr_touch))) ? 0 : -ENODEV;
}
#else
int charger_panel_init(void);
int charger_touch_init(void);
#endif

#endif
```

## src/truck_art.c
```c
/* SPDX-License-Identifier: Apache-2.0 */

#include <zephyr/sys/byteorder.h>
#include <zephyr/sys/util.h>
#include "truck_art.h"

#define ART_WIDTH 152
#define ART_HEIGHT 136
#define PALETTE_BYTES 32

static const uint8_t ejc216[] = {
#include <ejc216.pal565.inc>
};
static const uint8_t efg216[] = {
#include <efg216.pal565.inc>
};
static const uint8_t etv216i[] = {
#include <etv216i.pal565.inc>
};
static const uint8_t efg425[] = {
#include <efg425.pal565.inc>
};

/* Expand only the selected artwork into one LVGL RGB565 buffer. */
static uint16_t pixels[ART_WIDTH * ART_HEIGHT] __aligned(4);
static const lv_image_dsc_t image = {
	.header = {
		.magic = LV_IMAGE_HEADER_MAGIC,
		.cf = LV_COLOR_FORMAT_RGB565,
		.w = ART_WIDTH,
		.h = ART_HEIGHT,
		.stride = ART_WIDTH * sizeof(uint16_t),
	},
	.data_size = sizeof(pixels),
	.data = (const uint8_t *)pixels,
};

const lv_image_dsc_t *truck_art(enum charger_truck truck)
{
	static const uint8_t *const images[CHARGER_TRUCK_COUNT] = {
		[CHARGER_TRUCK_EJC216] = ejc216,
		[CHARGER_TRUCK_EFG216] = efg216,
		[CHARGER_TRUCK_ETV216I] = etv216i,
		[CHARGER_TRUCK_EFG425] = efg425,
		[CHARGER_TRUCK_CUSTOM] = efg216,
	};
	const uint8_t *data = images[truck];

	if (data == NULL) {
		return NULL;
	}
	for (size_t i = 0; i < ARRAY_SIZE(pixels) / 2; i++) {
		const uint8_t pair = data[PALETTE_BYTES + i];

		pixels[2 * i] = sys_get_le16(&data[2 * (pair >> 4)]);
		pixels[2 * i + 1] = sys_get_le16(&data[2 * (pair & 0x0f)]);
	}
	return &image;
}
```

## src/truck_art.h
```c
/* SPDX-License-Identifier: Apache-2.0 */

#ifndef RIVERDI_TRUCK_ART_H
#define RIVERDI_TRUCK_ART_H

#include <lvgl.h>
#include "charger_uds.h"

const lv_image_dsc_t *truck_art(enum charger_truck truck);

#endif
```
